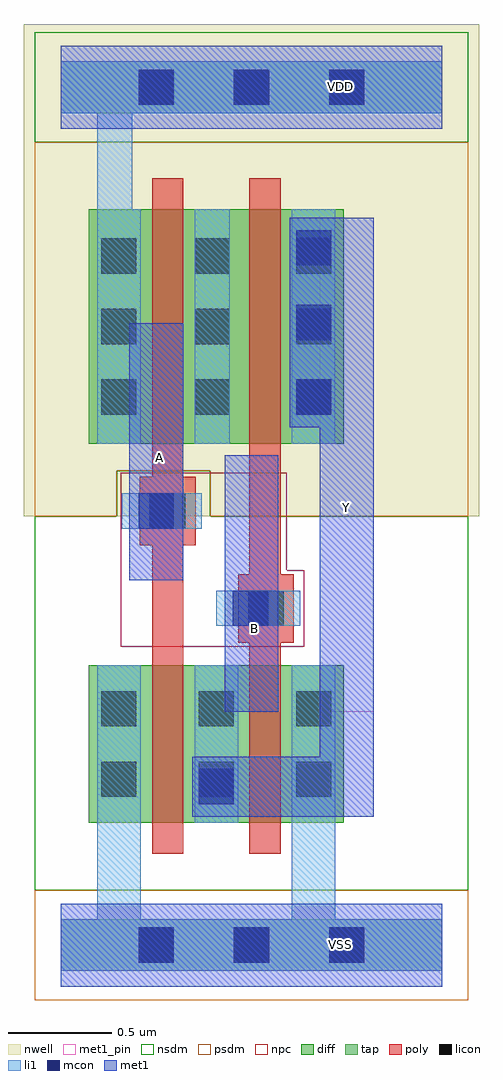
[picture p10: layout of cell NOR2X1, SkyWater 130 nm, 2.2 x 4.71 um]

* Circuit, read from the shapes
.subckt NOR2X1 A B VDD VSS Y
XM1 Y A VSS VSS sky130_fd_pr__nfet_01v8 w=0.76 l=0.15
XM2 VSS B Y VSS sky130_fd_pr__nfet_01v8 w=0.76 l=0.15
XM3 n1 A VDD VDD sky130_fd_pr__pfet_01v8 w=1.13 l=0.15
XM4 Y B n1 VDD sky130_fd_pr__pfet_01v8 w=1.13 l=0.15
.ends

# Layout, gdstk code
import gdstk
lib = gdstk.Library(unit=1e-6, precision=1e-09)
def R(c, l, rs):  # rectangles x0, y0, x1, y1
    for r in rs: c.add(gdstk.rectangle(r[:2], r[2:], *l))
def A(c, l, x, y, w, h, nx, ny, dx, dy):  # array of equal rectangles
    R(c, l, [(x+i*dx, y+j*dy, x+i*dx+w, y+j*dy+h) for i in range(nx) for j in range(ny)])
def P(c, l, *ps):  # polygons
    for p in ps: c.add(gdstk.Polygon(p, *l))
nwell = (64, 20)
diff = (65, 20)
tap = (65, 44)
poly = (66, 20)
licon = (66, 44)
li1 = (67, 20)
mcon = (67, 44)
met1_pin = (68, 16)
met1 = (68, 20)
nsdm = (93, 44)
psdm = (94, 20)
npc = (95, 20)

pyl1con_c_cdns_751554744 = lib.new_cell('PYL1CON_C_CDNS_751554744751')
R(pyl1con_c_cdns_751554744, poly, [(-0.135,-0.165,0.135,0.165)])
R(pyl1con_c_cdns_751554744, licon, [(-0.085,-0.085,0.085,0.085)])
R(pyl1con_c_cdns_751554744, npc, [(-0.185,-0.185,0.185,0.185)])

licondiff_c_cdns_7515547 = lib.new_cell('LICONDIFF_C_CDNS_751554744755')
R(licondiff_c_cdns_7515547, diff, [(-0.125,-0.145,0.125,0.145)])
R(licondiff_c_cdns_7515547, licon, [(-0.085,-0.085,0.085,0.085), (-0.085,-0.085,0.085,0.085)])

l1m1_c_cdns_751554744750 = lib.new_cell('L1M1_C_CDNS_751554744750$$11')
R(l1m1_c_cdns_751554744750, li1, [(-0.085,-0.525,0.085,0.525)])
A(l1m1_c_cdns_751554744750, mcon, -0.085, -0.445, 0.17, 0.17, 1, 3, 0, 0.36)
R(l1m1_c_cdns_751554744750, met1, [(-0.115,-0.505,0.115,0.505)])

c_l1m1_c_cdns_751554744750 = lib.new_cell('L1M1_C_CDNS_751554744750$$8')
R(c_l1m1_c_cdns_751554744750, li1, [(-0.085,-0.165,0.085,0.165)])
R(c_l1m1_c_cdns_751554744750, mcon, [(-0.085,-0.085,0.085,0.085)])
R(c_l1m1_c_cdns_751554744750, met1, [(-0.115,-0.145,0.115,0.145)])

c_l1m1_c_cdns_751554744750_ = lib.new_cell('L1M1_C_CDNS_751554744750$$9')
R(c_l1m1_c_cdns_751554744750_, li1, [(-0.165,-0.085,0.165,0.085)])
R(c_l1m1_c_cdns_751554744750_, mcon, [(-0.085,-0.085,0.085,0.085)])
R(c_l1m1_c_cdns_751554744750_, met1, [(-0.115,-0.145,0.115,0.145)])

nor2x1 = lib.new_cell('NOR2X1')
R(nor2x1, nwell, [(-0.18,2.07,2.02,4.445)])
R(nor2x1, diff, [(0.135,0.59,1.365,1.35), (0.135,2.42,1.365,3.55)])
R(nor2x1, poly, [(0.44,0.44,0.59,3.7), (0.91,0.44,1.06,3.7)])
A(nor2x1, licon, 0.375, -0.085, 0.17, 0.17, 3, 2, 0.46, 4.14)
A(nor2x1, licon, 0.195, 0.715, 0.17, 0.17, 3, 2, 0.47, 0.34)
A(nor2x1, licon, 0.195, 2.56, 0.17, 0.17, 1, 3, 0, 0.34)
A(nor2x1, licon, 1.135, 2.56, 0.17, 0.17, 1, 3, 0, 0.34)
R(nor2x1, li1, [(0.645,0.59,0.855,1.35), (1.115,2.42,1.325,3.55)])
P(nor2x1, li1, [(1.84,0.125),(1.325,0.125),(1.325,1.35),(1.115,1.35),(1.115,0.125),(0.385,0.125),(0.385,1.35),(0.175,1.35),(0.175,0.125),(0,0.125),(0,-0.125),(1.84,-0.125)],
  [(1.84,4.265),(0,4.265),(0,4.015),(0.175,4.015),(0.175,2.42),(0.385,2.42),(0.385,3.55),(0.345,3.55),(0.345,4.015),(1.84,4.015)])
A(nor2x1, mcon, 0.375, -0.085, 0.17, 0.17, 3, 2, 0.46, 4.14)
R(nor2x1, met1_pin, [(0.79,1.125,1.05,2.365), (1.25,1.125,1.51,3.51), (0.33,1.76,0.59,3)])
P(nor2x1, met1, [(1.51,3.51),(1.25,3.51),(1.25,0.91),(0.69,0.91),(0.69,0.62),(1.51,0.62)])
R(nor2x1, nsdm, [(-0.125,3.875,1.965,4.405)])
P(nor2x1, nsdm, [(1.965,2.07),(0.72,2.07),(0.72,2.29),(0.27,2.29),(0.27,2.07),(-0.125,2.07),(-0.125,0.265),(1.965,0.265)])
R(nor2x1, psdm, [(-0.125,-0.265,1.965,0.265)])
P(nor2x1, psdm, [(1.965,3.875),(-0.125,3.875),(-0.125,2.07),(0.27,2.07),(0.27,2.29),(0.72,2.29),(0.72,2.07),(1.965,2.07)])
R(nor2x1, npc, [(0.29,1.44,1.09,2.28)])
nor2x1.add(gdstk.FlexPath([(0.915,1.625),(1.155,1.625)], 0.17, ends="flush", simple_path=True, layer=67, datatype=20))  # li1
nor2x1.add(gdstk.FlexPath([(0.46,2.095),(0.68,2.095)], 0.17, ends="flush", simple_path=True, layer=67, datatype=20))  # li1
nor2x1.add(gdstk.FlexPath([(0.73,2.42),(0.73,3.55)], 0.17, ends="flush", simple_path=True, layer=67, datatype=20))  # li1
nor2x1.add(gdstk.FlexPath([(0,0),(1.84,0)], 0.4, ends="flush", simple_path=True, layer=68, datatype=20))  # met1
nor2x1.add(gdstk.FlexPath([(0.92,1.125),(0.92,2.365)], 0.26, ends="flush", simple_path=True, layer=68, datatype=20))  # met1
nor2x1.add(gdstk.FlexPath([(0,4.14),(1.84,4.14)], 0.4, ends="flush", simple_path=True, layer=68, datatype=20))  # met1
nor2x1.add(gdstk.FlexPath([(0.46,1.76),(0.46,3)], 0.26, ends="flush", simple_path=True, layer=68, datatype=20))  # met1
nor2x1.add(gdstk.FlexPath([(0,0),(1.84,0)], 0.4, ends="flush", simple_path=True, layer=68, datatype=16))  # met1_pin
nor2x1.add(gdstk.FlexPath([(0,4.14),(1.84,4.14)], 0.4, ends="flush", simple_path=True, layer=68, datatype=16))  # met1_pin
nor2x1.add(gdstk.FlexPath([(0,0),(1.84,0)], 0.25, ends="flush", simple_path=True, layer=65, datatype=44))  # tap
nor2x1.add(gdstk.FlexPath([(0,4.14),(1.84,4.14)], 0.25, ends="flush", simple_path=True, layer=65, datatype=44))  # tap
nor2x1.add(gdstk.Reference(pyl1con_c_cdns_751554744, (0.515,2.095), x_reflection=True))
nor2x1.add(gdstk.Reference(pyl1con_c_cdns_751554744, (0.99,1.625), x_reflection=True))
nor2x1.add(gdstk.Reference(licondiff_c_cdns_7515547, (0.73,2.985)))
nor2x1.add(gdstk.Reference(licondiff_c_cdns_7515547, (0.73,3.325)))
nor2x1.add(gdstk.Reference(licondiff_c_cdns_7515547, (0.73,2.645)))
nor2x1.add(gdstk.Reference(l1m1_c_cdns_751554744750, (1.22,3.005)))
nor2x1.add(gdstk.Reference(c_l1m1_c_cdns_751554744750, (0.75,0.765)))
nor2x1.add(gdstk.Reference(c_l1m1_c_cdns_751554744750_, (0.915,1.625), x_reflection=True))
nor2x1.add(gdstk.Reference(c_l1m1_c_cdns_751554744750_, (0.46,2.095), x_reflection=True))
nor2x1.add(gdstk.Label('VDD', (1.35,4.145), layer=68, texttype=5))
nor2x1.add(gdstk.Label('Y', (1.38,2.11), layer=68, texttype=5))
nor2x1.add(gdstk.Label('A', (0.475,2.355), layer=68, texttype=5))
nor2x1.add(gdstk.Label('B', (0.935,1.53), layer=68, texttype=5))
nor2x1.add(gdstk.Label('VSS', (1.35,0.005), layer=68, texttype=5))

lib.write_gds('NOR2X1.gds')
